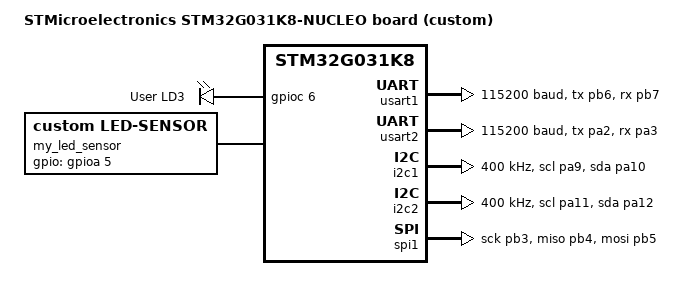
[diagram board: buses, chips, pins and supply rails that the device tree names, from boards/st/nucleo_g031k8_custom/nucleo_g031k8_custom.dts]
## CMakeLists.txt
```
cmake_minimum_required(VERSION 3.20.0)

list(APPEND BOARD_ROOT ${CMAKE_CURRENT_SOURCE_DIR})

set(ZEPHYR_EXTRA_MODULES ${CMAKE_CURRENT_SOURCE_DIR}/modules/custom-drivers)

find_package(Zephyr REQUIRED HINTS $ENV{ZEPHYR_BASE})
project(app)

target_sources(app PRIVATE src/main.c)
```

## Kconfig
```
menuconfig LED_SUBSYSTEM
	bool "LED Subsystem"
	default y

if LED_SUBSYSTEM
choice
	prompt "LED blink speed time"
	default BLINK_SLEEP_1000MS
config BLINK_SLEEP_250MS
	bool "250ms (fast)"
config BLINK_SLEEP_1000MS
	bool "1s (medium)"
config BLINK_SLEEP_2000MS
	bool "2s (slow)"
endchoice

config BLINK_SLEEP_TIME_MS
	int
	default 250 if BLINK_SLEEP_250MS
	default 1000 if BLINK_SLEEP_1000MS
	default 2000 if BLINK_SLEEP_2000MS
	default 0

menuconfig LED_ADVANCED
	bool "Advanced LED settings"
	default n

if LED_ADVANCED
config LED_BRIGHTNESS
	int "LED brightness (0-100)"
	range 0 100
	default 100
config LED_FADE_DURATION_MS
	int "Fade duration (ms)"
	range 0 5000
	default 500

menu "Expert settings"
	visible if LED_ADVANCED
config LED_DEBUG
	bool "Enable LED debugging"
	default n
config BLINK_PATTERN_CUSTOM
	bool "Custom blink pattern"
	default n
endmenu

endif # LED_ADVANCED
endif # LED_SUBSYSTEM

config APP_HEARTBEAT_PERIOD_MS
	int "Heartbeat period (ms)"
	range 100 2000
	default 500

source "Kconfig.zephyr"
```

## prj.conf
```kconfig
CONFIG_SENSOR=y
CONFIG_GPIO=y
CONFIG_LOG=y
CONFIG_CUSTOM_LED_SENSOR=y
```

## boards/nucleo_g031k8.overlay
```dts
/{
	aliases {
        	led-1 = &red_led;
        	led-2 = &blue_led;
    	};

	leds {
		red_led: led_1 {
			gpios = <&gpioa 15 GPIO_ACTIVE_LOW>; // PA15
		};
		blue_led: led_2 {
			gpios = <&gpiob 1 GPIO_ACTIVE_LOW>; // PB1
		};
	};

};
```

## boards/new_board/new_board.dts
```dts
/dts-v1/;
#include <st/g0/stm32g031X8.dtsi>
#include <st/g0/stm32g031k(4-6-8)tx-pinctrl.dtsi>

/{

	model = "New Board From Scratch";
	compatible = "st,stm32g031k8-nucleo";

	chosen {
		zephyr,sram = &sram0;
		zephyr,flash = &flash0;
	};

	aliases {
		led0 = &green_led_3;
	};

	leds: leds {
		compatible = "gpio-leds";

		green_led_3: led_3 {
			gpios = <&gpioc 6 GPIO_ACTIVE_HIGH>;
			label = "User LD3";
		};
	};
};

&timers3 {
	status = "okay";

	pwm3: pwm {
		status = "okay";
		pinctrl-0 = <&tim3_ch1_pc6>;
		pinctrl-names = "default";
	};
};

&clk_hsi {
	status = "okay";
};

&pll {
	div-m = <1>;
	mul-n = <8>;
	div-r = <2>;
	clocks = <&clk_hsi>;
	status = "okay";
};

&rcc {
	clocks = <&pll>;
	clock-frequency = <DT_FREQ_M(64)>;
	ahb-prescaler = <1>;
	apb1-prescaler = <1>;
};
```

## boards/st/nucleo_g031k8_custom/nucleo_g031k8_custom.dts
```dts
/*
 * Copyright (c) 2022 Joylab AG <team@joylab.ch>
 *
 * SPDX-License-Identifier: Apache-2.0
 */

/dts-v1/;
#include <st/g0/stm32g031X8.dtsi>
#include <st/g0/stm32g031k(4-6-8)tx-pinctrl.dtsi>
#include "arduino_nano_connector.dtsi"

/ {
	model = "STMicroelectronics STM32G031K8-NUCLEO board (custom)";
	compatible = "st,stm32g031k8_custom-nucleo";

	chosen {
		zephyr,console = &usart2;
		zephyr,shell-uart = &usart2;
		zephyr,sram = &sram0;
		zephyr,flash = &flash0;
	};

	leds: leds {
		compatible = "gpio-leds";

		green_led_3: led_3 {
			gpios = <&gpioc 6 GPIO_ACTIVE_HIGH>;
			label = "User LD3";
		};
	};

	my_led_sensor: led_sensor {
		compatible = "custom,led-sensor";
		gpios = <&gpioa 5 GPIO_ACTIVE_HIGH>;
		status = "okay";
	};

	aliases {
		led0 = &green_led_3;
	};
};

&clk_hsi {
	status = "okay";
};

&pll {
	div-m = <1>;
	mul-n = <8>;
	div-r = <2>;
	clocks = <&clk_hsi>;
	status = "okay";
};

&rcc {
	clocks = <&pll>;
	clock-frequency = <DT_FREQ_M(64)>;
	ahb-prescaler = <1>;
	apb1-prescaler = <1>;
};

&usart1 {
	pinctrl-0 = <&usart1_tx_pb6 &usart1_rx_pb7>;
	pinctrl-names = "default";
	current-speed = <115200>;
};

&usart2 {
	pinctrl-0 = <&usart2_tx_pa2 &usart2_rx_pa3>;
	pinctrl-names = "default";
	current-speed = <115200>;
	status = "okay";
};

&i2c1 {
	pinctrl-0 = <&i2c1_scl_pa9 &i2c1_sda_pa10>;
	pinctrl-names = "default";
	clock-frequency = <I2C_BITRATE_FAST>;
	status = "okay";
};

&i2c2 {
	pinctrl-0 = <&i2c2_scl_pa11 &i2c2_sda_pa12>;
	pinctrl-names = "default";
	clock-frequency = <I2C_BITRATE_FAST>;
	status = "okay";
};

&spi1 {
	pinctrl-0 = <&spi1_sck_pb3 &spi1_miso_pb4 &spi1_mosi_pb5>;
	pinctrl-names = "default";
	status = "okay";
};
```

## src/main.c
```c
#include <zephyr/kernel.h>
#include <zephyr/drivers/sensor.h>
#include <zephyr/device.h>

#define LED_SENSOR_NODE DT_NODELABEL(my_led_sensor)

int main(void)
{
	const struct device *dev = DEVICE_DT_GET(LED_SENSOR_NODE);
	struct sensor_value val;

	if (!device_is_ready(dev)) {
		printk("LED sensor device not ready\n");
		return 0;
	}
	printk("Device %s ready\n", dev->name);

	while (1) {
		/* Tarea 1: fetch enciende, channel_get apaga */
		sensor_sample_fetch(dev);
		k_msleep(500);

		sensor_channel_get(dev, SENSOR_CHAN_ALL, &val);
		k_msleep(500);
	}
}
```

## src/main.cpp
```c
#include <zephyr/drivers/gpio.h>
#include <zephyr/kernel.h>
#include <zephyr/logging/log.h>

/* The devicetree node identifier for the "led1" alias. */
#define LED_NODE DT_ALIAS(led0)

static const struct gpio_dt_spec led = GPIO_DT_SPEC_GET(LED_NODE, gpios);

LOG_MODULE_REGISTER(main, LOG_LEVEL_INF);

int main(void)
{
    bool led_state = true;

    if (!gpio_is_ready_dt(&led)) return 0;

    if (gpio_pin_configure_dt(&led, GPIO_OUTPUT_ACTIVE) < 0) return 0;

    while (1) {
        if (gpio_pin_toggle_dt(&led) < 0) return 0;

        led_state = !led_state;
        LOG_INF("LED state: %s", led_state ? "ON" : "OFF");
        //k_msleep(CONFIG_BLINK_SLEEP_TIME_MS);
    }
    return 0;
}
```
